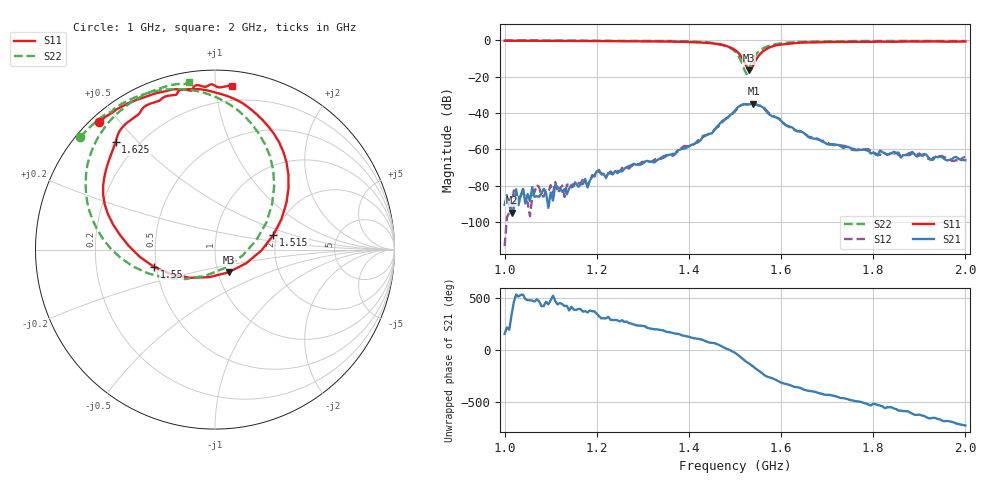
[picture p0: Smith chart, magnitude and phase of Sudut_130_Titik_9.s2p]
# Hz S RI R 50
! CMT, C1220, 16058040, 17.2.0/1
! Date: 14/08/2018 11:56:09
! Data: Format (Calibration Info)
! Freq  S11: Re/Im (F2)  S21: Re/Im (F2)  S12: Re/Im (F2)  S22: Re/Im (F2)
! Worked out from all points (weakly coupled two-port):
!   201 points, 1 GHz to 2 GHz, reference 50 ohm
!   highest |S21| = -34.90 dB at 1.54 GHz (marker M1); lowest = -94.8 dB at 1.015 GHz (marker M2)
!   lowest |S11| = -16.6 dB at 1.53 GHz (marker M3), VSWR 1.35, Z = 56.2 - j14.5 ohm
!   |S11| at or under -10 dB: 1.516 GHz to 1.548 GHz (31.49 MHz wide, 2.06 % of centre)
!   |S22| runs from -18.7 to -0.2 dB; largest |S21 - S12| = 0.0008
!   S11 on the Smith chart (normalised r, x): 1 GHz: 0.02, +0.44; 1.515 GHz: 1.92, +0.35; 1.55 GHz: 0.49, -0.11; 1.625 GHz: 0.12, +0.43; 2 GHz: 0.10, +1.10
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1e9  -0.6439 0.7115  -2.68e-05 1.37e-05  1.17e-06 1.88e-06  -0.7501 0.6271
1.015e9  -0.6264 0.7246  1.6e-05 -8.92e-06  -2.2e-05 -1.15e-05  -0.7392 0.6387
1.15e9  -0.4933 0.8105  0.000102 4.66e-05  7.19e-05 6.6e-05  -0.6324 0.7378
1.17e9  -0.4718 0.8204  0.000113 9.5e-06  0.000146 6.15e-05  -0.6122 0.7523
1.175e9  -0.4635 0.8239  0.000153 2.52e-05  0.000124 3.08e-05  -0.6064 0.7554
1.18e9  -0.4552 0.8275  8.99e-05 -4.85e-06  0.000104 4.64e-06  -0.6008 0.7586
1.2e9  -0.429 0.8365  0.000243 -6.88e-05  0.000211 -0.000125  -0.5781 0.7657
1.22e9  -0.4097 0.8433  8.17e-05 -0.000142  0.000142 -0.000156  -0.5671 0.7791
1.335e9  -0.2143 0.8936  -0.000534 -0.000114  -0.000523 -6.48e-05  -0.3955 0.866
1.45e9  0.181 0.7966  0.00108 0.00257  0.00133 0.00258  0.0272 0.8391
1.5e9  0.4095 0.3424  0.0103 -0.00544  0.00973 -0.0052  0.3293 0.3509
1.515e9  0.3252 0.0812  0.00291 -0.0164  0.0033 -0.0164  0.231 0.0536
1.525e9  0.1748 -0.0756  -0.00729 -0.0155  -0.00726 -0.0157  0.0559 -0.1019
1.53e9  0.0758 -0.1264  -0.0108 -0.0134  -0.0109 -0.0135  -0.0531 -0.1461
1.54e9  -0.1385 -0.1571  -0.017 -0.00579  -0.0169 -0.00577  -0.2757 -0.1587
1.55e9  -0.3395 -0.0967  -0.0156 0.00431  -0.0157 0.00375  -0.4571 -0.0938
1.58e9  -0.615 0.2544  2.01e-05 0.00821  0.000379 0.00851  -0.7006 0.2178
1.625e9  -0.5543 0.5986  0.00385 0.00085  0.00364 0.000936  -0.6965 0.5226
1.67e9  -0.441 0.7421  0.00156 -0.00123  0.00165 -0.0013  -0.62 0.6735
1.835e9  -0.1445 0.8866  -0.000729 9.93e-05  -0.000722 0.000201  -0.3698 0.8735
1.975e9  0.0575 0.9089  0.000543 0.000262  0.000444 0.000191  -0.1739 0.922
2e9  0.0941 0.9114  0.000507 -2.23e-05  0.00062 -1.74e-05  -0.1466 0.931
